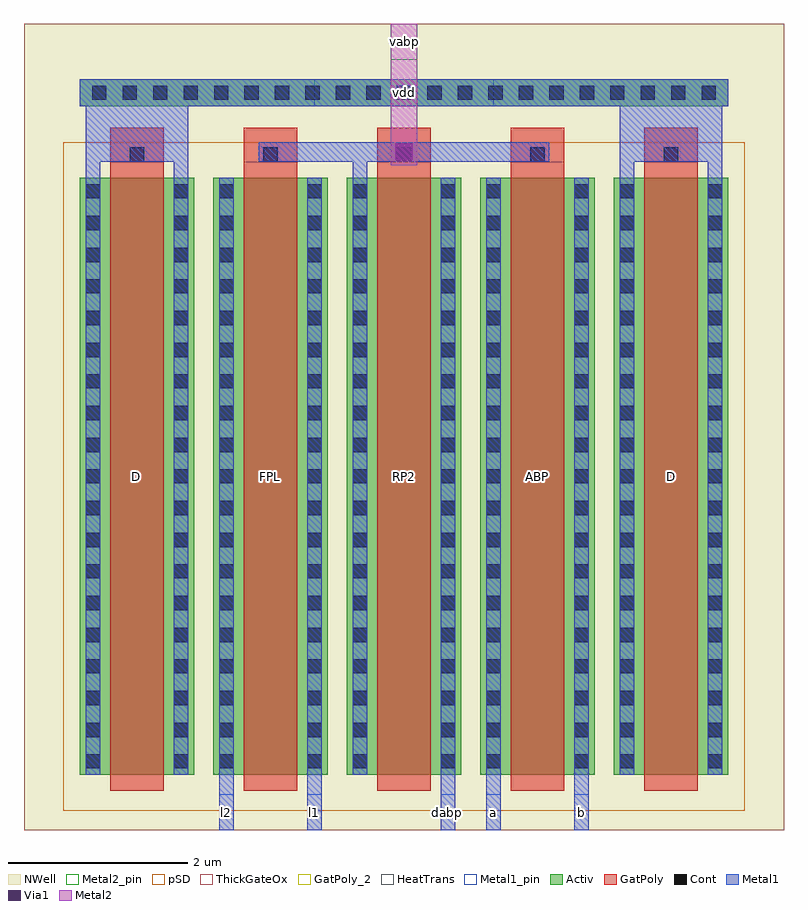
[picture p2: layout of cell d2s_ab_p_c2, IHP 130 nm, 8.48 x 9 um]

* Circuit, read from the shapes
.subckt d2s_ab_p_c2 a b dabp l1 l2 vabp vdd
XM1 vdd vdd vdd vdd sg13_hv_pmos w=6.66u l=0.6u m=2
XM2 l1 vabp l2 vdd sg13_hv_pmos w=6.66u l=0.6u
XM3 dabp vabp vabp vdd sg13_hv_pmos w=6.66u l=0.6u
XM4 b vabp a vdd sg13_hv_pmos w=6.66u l=0.6u
.ends

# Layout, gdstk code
from math import pi, radians
import gdstk
lib = gdstk.Library(unit=1e-6, precision=1e-09)
def R(c, l, rs):  # rectangles x0, y0, x1, y1
    for r in rs: c.add(gdstk.rectangle(r[:2], r[2:], *l))
def A(c, l, x, y, w, h, nx, ny, dx, dy):  # array of equal rectangles
    R(c, l, [(x+i*dx, y+j*dy, x+i*dx+w, y+j*dy+h) for i in range(nx) for j in range(ny)])
Activ = (1, 0)
GatPoly = (5, 0)
GatPoly_2 = (5, 2)
Cont = (6, 0)
Metal1 = (8, 0)
Metal1_pin = (8, 2)
Metal2 = (10, 0)
Metal2_pin = (10, 2)
pSD = (14, 0)
Via1 = (19, 0)
NWell = (31, 0)
ThickGateOx = (44, 0)
HeatTrans = (51, 0)

pmoshv_w6p66_l0p6 = lib.new_cell('pmosHV_w6p66_l0p6')
R(pmoshv_w6p66_l0p6, Activ, [(0,0,0.3,0.3), (0,0,1.28,6.66), (0.98,0,1.28,0.3)])
R(pmoshv_w6p66_l0p6, GatPoly, [(0.34,-0.18,0.94,6.84)])
R(pmoshv_w6p66_l0p6, GatPoly_2, [(0.34,-0.18,0.94,6.84)])
A(pmoshv_w6p66_l0p6, Cont, 0.07, 0.42, 0.16, 0.16, 1, 3, 0, 0.355)
A(pmoshv_w6p66_l0p6, Cont, 1.05, 0.42, 0.16, 0.16, 1, 3, 0, 0.355)
A(pmoshv_w6p66_l0p6, Cont, 0.07, 1.48, 0.16, 0.16, 1, 3, 0, 0.355)
A(pmoshv_w6p66_l0p6, Cont, 1.05, 1.48, 0.16, 0.16, 1, 3, 0, 0.355)
A(pmoshv_w6p66_l0p6, Cont, 0.07, 2.54, 0.16, 0.16, 1, 3, 0, 0.355)
A(pmoshv_w6p66_l0p6, Cont, 1.05, 2.54, 0.16, 0.16, 1, 3, 0, 0.355)
A(pmoshv_w6p66_l0p6, Cont, 0.07, 3.6, 0.16, 0.16, 1, 3, 0, 0.355)
A(pmoshv_w6p66_l0p6, Cont, 1.05, 3.6, 0.16, 0.16, 1, 3, 0, 0.355)
A(pmoshv_w6p66_l0p6, Cont, 0.07, 4.66, 0.16, 0.16, 1, 3, 0, 0.355)
A(pmoshv_w6p66_l0p6, Cont, 1.05, 4.66, 0.16, 0.16, 1, 3, 0, 0.355)
A(pmoshv_w6p66_l0p6, Cont, 0.07, 5.72, 0.16, 0.16, 1, 3, 0, 0.355)
A(pmoshv_w6p66_l0p6, Cont, 1.05, 5.72, 0.16, 0.16, 1, 3, 0, 0.355)
R(pmoshv_w6p66_l0p6, Cont, [(0.07,0.07,0.23,0.23), (1.05,0.07,1.21,0.23)])
R(pmoshv_w6p66_l0p6, Metal1, [(0.07,0,0.23,6.66), (1.05,0,1.21,6.66)])
R(pmoshv_w6p66_l0p6, Metal1_pin, [(0.07,0,0.23,6.66), (1.05,0,1.21,6.66)])
R(pmoshv_w6p66_l0p6, pSD, [(-0.18,-0.4,1.46,7.06)])
R(pmoshv_w6p66_l0p6, NWell, [(-0.62,-0.62,1.9,7.28)])
R(pmoshv_w6p66_l0p6, ThickGateOx, [(-0.62,-0.62,1.9,7.28)])
R(pmoshv_w6p66_l0p6, HeatTrans, [(0.34,-0.18,0.94,6.84)])
pmoshv_w6p66_l0p6.add(gdstk.Label('pmosHV', (0.64,3.33), layer=63, texttype=0))
pmoshv_w6p66_l0p6.add(gdstk.Label('pmos', (0.64,3.33), layer=51, texttype=0))

d2s_ab_p_c2 = lib.new_cell('d2s_ab_p_c2')
R(d2s_ab_p_c2, Activ, [(0.62,8.08,7.86,8.38)])
A(d2s_ab_p_c2, GatPoly, 0.96, 7.28, 0.6, 0.56, 5, 1, 1.49, 0)
A(d2s_ab_p_c2, Cont, 1.18, 7.46, 0.16, 0.16, 5, 1, 1.49, 0)
A(d2s_ab_p_c2, Cont, 0.76, 8.15, 0.16, 0.16, 21, 1, 0.34, 0)
R(d2s_ab_p_c2, Metal1, [(2.18,0,2.34,0.62), (3.16,0,3.32,0.62), (4.65,0,4.81,0.62), (5.16,0,5.32,0.62), (6.14,0,6.3,0.62), (0.69,7.28,0.85,8.08), (1.67,7.28,1.83,8.08), (3.67,7.28,3.83,7.46), (6.65,7.28,6.81,8.08), (7.63,7.28,7.79,8.08), (0.69,7.46,1.83,8.38), (2.62,7.46,5.86,7.68), (6.65,7.46,7.79,8.38), (0.62,8.08,7.86,8.38)])
R(d2s_ab_p_c2, Metal1_pin, [(2.18,0,2.34,0.4), (3.16,0,3.32,0.4), (4.65,0,4.81,0.4), (5.16,0,5.32,0.4), (6.14,0,6.3,0.4), (3.24,8.08,5.24,8.38)])
R(d2s_ab_p_c2, Metal2, [(4.09,7.42,4.39,9)])
R(d2s_ab_p_c2, Metal2_pin, [(4.09,8.6,4.39,9)])
R(d2s_ab_p_c2, Via1, [(4.145,7.475,4.335,7.665)])
R(d2s_ab_p_c2, NWell, [(0,0,8.48,9)])
R(d2s_ab_p_c2, ThickGateOx, [(0,0,8.48,9)])
d2s_ab_p_c2.add(gdstk.Reference(pmoshv_w6p66_l0p6, (0.62,0.62)))
d2s_ab_p_c2.add(gdstk.Reference(pmoshv_w6p66_l0p6, (2.11,0.62)))
d2s_ab_p_c2.add(gdstk.Reference(pmoshv_w6p66_l0p6, (3.6,0.62)))
d2s_ab_p_c2.add(gdstk.Reference(pmoshv_w6p66_l0p6, (6.37,0.62), rotation=pi, x_reflection=True))
d2s_ab_p_c2.add(gdstk.Reference(pmoshv_w6p66_l0p6, (7.86,0.62), rotation=pi, x_reflection=True))
d2s_ab_p_c2.add(gdstk.Label('l1', (3.24,0.2), layer=8, texttype=25))
d2s_ab_p_c2.add(gdstk.Label('l2', (2.26,0.2), layer=8, texttype=25))
d2s_ab_p_c2.add(gdstk.Label('dabp', (4.73,0.2), layer=8, texttype=25))
d2s_ab_p_c2.add(gdstk.Label('b', (6.22,0.2), layer=8, texttype=25))
d2s_ab_p_c2.add(gdstk.Label('a', (5.24,0.2), layer=8, texttype=25))
d2s_ab_p_c2.add(gdstk.Label('vdd', (4.24,8.23), layer=8, texttype=25))
d2s_ab_p_c2.add(gdstk.Label('vabp', (4.24,8.8), layer=10, texttype=25))
d2s_ab_p_c2.add(gdstk.Label('D', (1.26,3.95), layer=63, texttype=0))
d2s_ab_p_c2.add(gdstk.Label('FPL', (2.75,3.95), layer=63, texttype=0))
d2s_ab_p_c2.add(gdstk.Label('RP2', (4.24,3.95), layer=63, texttype=0))
d2s_ab_p_c2.add(gdstk.Label('ABP', (5.73,3.95), layer=63, texttype=0))
d2s_ab_p_c2.add(gdstk.Label('D', (7.22,3.95), layer=63, texttype=0))

lib.write_gds('d2s_ab_p_c2.gds')
